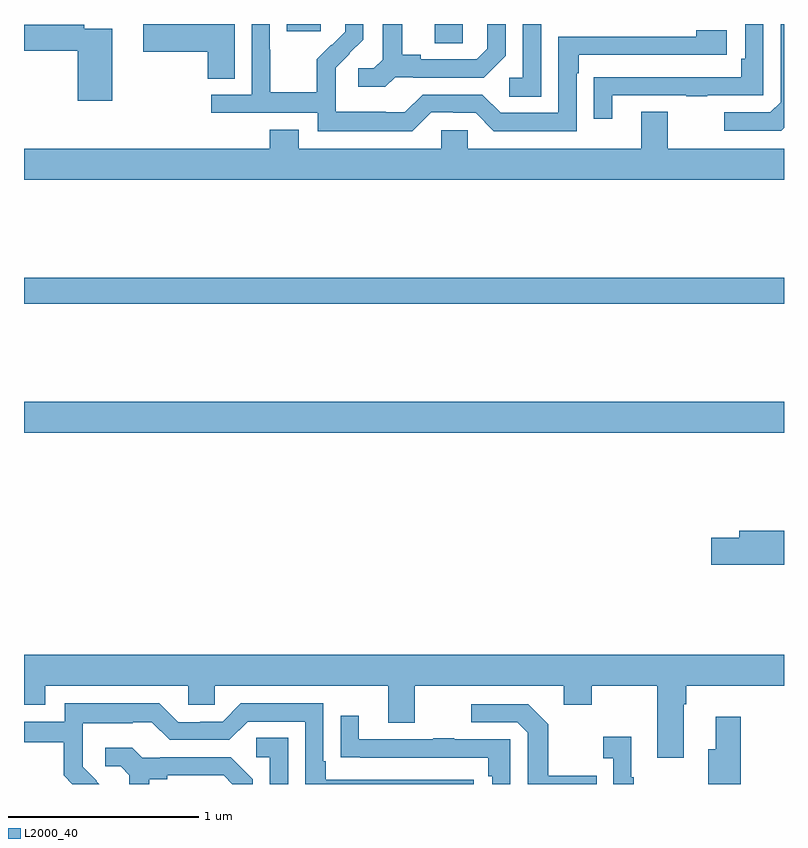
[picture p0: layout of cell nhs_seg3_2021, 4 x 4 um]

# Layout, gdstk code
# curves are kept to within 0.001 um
import gdstk
lib = gdstk.Library(unit=1e-6, precision=1e-09)
def R(c, l, rs):  # rectangles x0, y0, x1, y1
    for r in rs: c.add(gdstk.rectangle(r[:2], r[2:], *l))
def P(c, l, *ps):  # polygons
    for p in ps: c.add(gdstk.Polygon(p, *l))
L2000_40 = (2000, 40)

nhs_seg3_2021 = lib.new_cell('nhs_seg3_2021')
R(nhs_seg3_2021, L2000_40, [(215,702.248,219,702.412), (215,702.928,219,703.064), (217.163,704.299,217.308,704.4), (216.383,704.361,216.562,704.4)])
P(nhs_seg3_2021, L2000_40, [(217.143,703.935),(217.259,703.935),(217.259,703.932),(217.377,703.932),(217.473,703.836),(217.908,703.836),(217.908,704.141),(217.921,704.141),(217.921,704.238),(218.698,704.238),(218.698,704.368),(218.537,704.368),(218.537,704.334),(217.812,704.334),(217.812,703.932),(217.509,703.932),(217.413,704.028),(217.098,704.028),(217.005,703.935),(216.905,703.935),(216.905,703.939),(216.642,703.939),(216.642,704.073),(216.64,704.073),(216.64,704.17),(216.786,704.318),(216.786,704.4),(216.692,704.4),(216.692,704.36),(216.621,704.289),(216.618,704.292),(216.541,704.215),(216.541,704.041),(216.297,704.041),(216.297,704.264),(216.294,704.264),(216.294,704.4),(216.198,704.4),(216.198,704.028),(215.985,704.028),(215.985,703.932),(216.546,703.932),(216.546,703.835),(217.043,703.835)],
  [(216.954,704.121),(217.048,704.121),(217.048,704.118),(217.42,704.118),(217.536,704.234),(217.536,704.4),(217.439,704.4),(217.439,704.271),(217.382,704.214),(217.087,704.214),(217.087,704.237),(216.991,704.237),(216.991,704.4),(216.887,704.4),(216.887,704.213),(216.84,704.166),(216.759,704.166),(216.759,704.069),(216.902,704.069)],
  [(218.095,704.025),(218.485,704.025),(218.485,704.02),(218.597,704.02),(218.597,704.025),(218.892,704.025),(218.892,704.4),(218.796,704.4),(218.796,704.218),(218.776,704.218),(218.776,704.121),(218.101,704.121),(218.101,704.12),(217.999,704.12),(217.999,703.902),(218.095,703.902)],
  [(219,703.854),(219,704.4),(218.982,704.4),(218.982,703.989),(218.928,703.935),(218.685,703.935),(218.685,703.839),(218.985,703.839)],
  [(216.109,704.4),(215.628,704.4),(215.628,704.255),(215.966,704.255),(215.966,704.113),(216.109,704.113)],
  [(217.722,704.4),(217.626,704.4),(217.626,704.118),(217.554,704.118),(217.554,704.017),(217.722,704.017)],
  [(215.465,704.376),(215.318,704.376),(215.318,704.396),(215,704.396),(215,704.26),(215.282,704.26),(215.282,703.995),(215.465,703.995)],
  [(219,703.744),(218.389,703.744),(218.389,703.939),(218.249,703.939),(218.249,703.744),(217.335,703.744),(217.335,703.842),(217.197,703.842),(217.197,703.744),(216.445,703.744),(216.445,703.843),(216.293,703.843),(216.293,703.744),(215,703.744),(215,703.58),(219,703.58)],
  [(219,701.732),(218.765,701.732),(218.765,701.696),(218.616,701.696),(218.616,701.554),(219,701.554)],
  [(218.473,700.82),(218.486,700.82),(218.486,700.916),(219,700.916),(219,701.08),(215,701.08),(215,700.817),(215.113,700.817),(215.113,700.916),(215.865,700.916),(215.865,700.818),(216.003,700.818),(216.003,700.916),(216.917,700.916),(216.917,700.722),(217.057,700.722),(217.057,700.916),(217.841,700.916),(217.841,700.817),(217.989,700.817),(217.989,700.916),(218.333,700.916),(218.333,700.539),(218.473,700.539)],
  [(215.381,700.415),(215.382,700.416),(215.308,700.49),(215.308,700.587),(215.31,700.587),(215.31,700.721),(215.573,700.721),(215.573,700.725),(215.673,700.725),(215.766,700.632),(216.081,700.632),(216.177,700.728),(216.48,700.728),(216.48,700.4),(217.366,700.4),(217.366,700.422),(216.589,700.422),(216.589,700.519),(216.576,700.519),(216.576,700.824),(216.141,700.824),(216.045,700.728),(215.927,700.728),(215.927,700.725),(215.811,700.725),(215.711,700.825),(215.214,700.825),(215.214,700.728),(215,700.728),(215,700.62),(215.209,700.62),(215.209,700.445),(215.254,700.4),(215.396,700.4)],
  [(218.015,700.443),(217.759,700.443),(217.759,700.715),(217.653,700.821),(217.353,700.821),(217.353,700.725),(217.596,700.725),(217.65,700.671),(217.65,700.4),(218.015,700.4)],
  [(217.56,700.635),(217.265,700.635),(217.265,700.64),(217.153,700.64),(217.153,700.635),(216.763,700.635),(216.763,700.759),(216.667,700.759),(216.667,700.54),(216.769,700.54),(216.769,700.539),(217.444,700.539),(217.444,700.442),(217.464,700.442),(217.464,700.4),(217.56,700.4)],
  [(218.772,700.753),(218.642,700.753),(218.642,700.582),(218.602,700.582),(218.602,700.4),(218.772,700.4)],
  [(218.209,700.435),(218.197,700.435),(218.197,700.648),(218.049,700.648),(218.049,700.535),(218.1,700.535),(218.1,700.4),(218.209,700.4)],
  [(216.39,700.643),(216.222,700.643),(216.222,700.542),(216.294,700.542),(216.294,700.4),(216.39,700.4)],
  [(215.659,700.424),(215.755,700.424),(215.755,700.446),(216.05,700.446),(216.096,700.4),(216.204,700.4),(216.204,700.426),(216.088,700.542),(215.716,700.542),(215.716,700.539),(215.622,700.539),(215.57,700.591),(215.427,700.591),(215.427,700.494),(215.508,700.494),(215.555,700.447),(215.555,700.4),(215.659,700.4)])

lib.write_gds('nhs_seg3_2021.gds')
